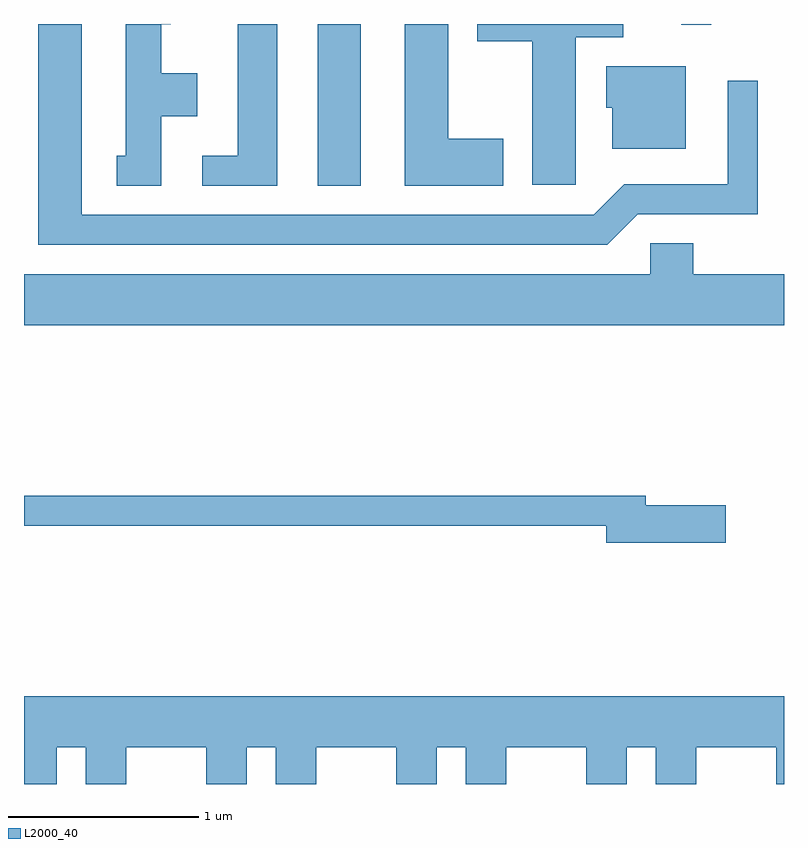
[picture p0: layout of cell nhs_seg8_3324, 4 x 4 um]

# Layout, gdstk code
import gdstk
lib = gdstk.Library(unit=1e-6, precision=1e-09)
def R(c, l, rs):  # rectangles x0, y0, x1, y1
    for r in rs: c.add(gdstk.rectangle(r[:2], r[2:], *l))
def P(c, l, *ps):  # polygons
    for p in ps: c.add(gdstk.Polygon(p, *l))
L2000_40 = (2000, 40)

nhs_seg8_3324 = lib.new_cell('nhs_seg8_3324')
R(nhs_seg8_3324, L2000_40, [(285.156,1941.491,285.384,1942.342), (287.071,1942.338,287.229,1942.342)])
P(nhs_seg8_3324, L2000_40, [(286.842,1941.341),(287.474,1941.341),(287.474,1942.043),(287.316,1942.043),(287.316,1941.499),(286.769,1941.499),(286.609,1941.339),(283.914,1941.339),(283.914,1942.342),(283.686,1942.342),(283.686,1941.181),(286.682,1941.181)],
  [(284.334,1941.856),(284.524,1941.856),(284.524,1942.084),(284.334,1942.084),(284.334,1942.341),(284.383,1942.341),(284.383,1942.342),(284.146,1942.342),(284.146,1941.649),(284.098,1941.649),(284.098,1941.491),(284.334,1941.491)],
  [(284.944,1942.342),(284.736,1942.342),(284.736,1941.649),(284.548,1941.649),(284.548,1941.491),(284.944,1941.491)],
  [(286.514,1942.271),(286.764,1942.271),(286.764,1942.342),(285.996,1942.342),(285.996,1942.251),(286.286,1942.251),(286.286,1941.496),(286.514,1941.496)],
  [(286.134,1941.739),(285.844,1941.739),(285.844,1942.342),(285.616,1942.342),(285.616,1941.491),(286.134,1941.491)],
  [(287.094,1942.119),(286.676,1942.119),(286.676,1941.901),(286.706,1941.901),(286.706,1941.686),(287.094,1941.686)],
  [(287.611,1941.024),(287.134,1941.024),(287.134,1941.189),(286.906,1941.189),(286.906,1941.024),(283.611,1941.024),(283.611,1940.756),(287.611,1940.756)],
  [(287.304,1939.809),(286.884,1939.809),(286.884,1939.859),(283.611,1939.859),(283.611,1939.701),(286.676,1939.701),(286.676,1939.611),(287.304,1939.611)],
  [(283.611,1938.342),(283.784,1938.342),(283.784,1938.536),(283.936,1938.536),(283.936,1938.342),(284.149,1938.342),(284.149,1938.536),(284.571,1938.536),(284.571,1938.342),(284.784,1938.342),(284.784,1938.536),(284.936,1938.536),(284.936,1938.342),(285.149,1938.342),(285.149,1938.536),(285.571,1938.536),(285.571,1938.342),(285.784,1938.342),(285.784,1938.536),(285.936,1938.536),(285.936,1938.342),(286.149,1938.342),(286.149,1938.536),(286.571,1938.536),(286.571,1938.342),(286.784,1938.342),(286.784,1938.536),(286.936,1938.536),(286.936,1938.342),(287.149,1938.342),(287.149,1938.536),(287.571,1938.536),(287.571,1938.342),(287.611,1938.342),(287.611,1938.804),(283.611,1938.804)])

lib.write_gds('nhs_seg8_3324.gds')
